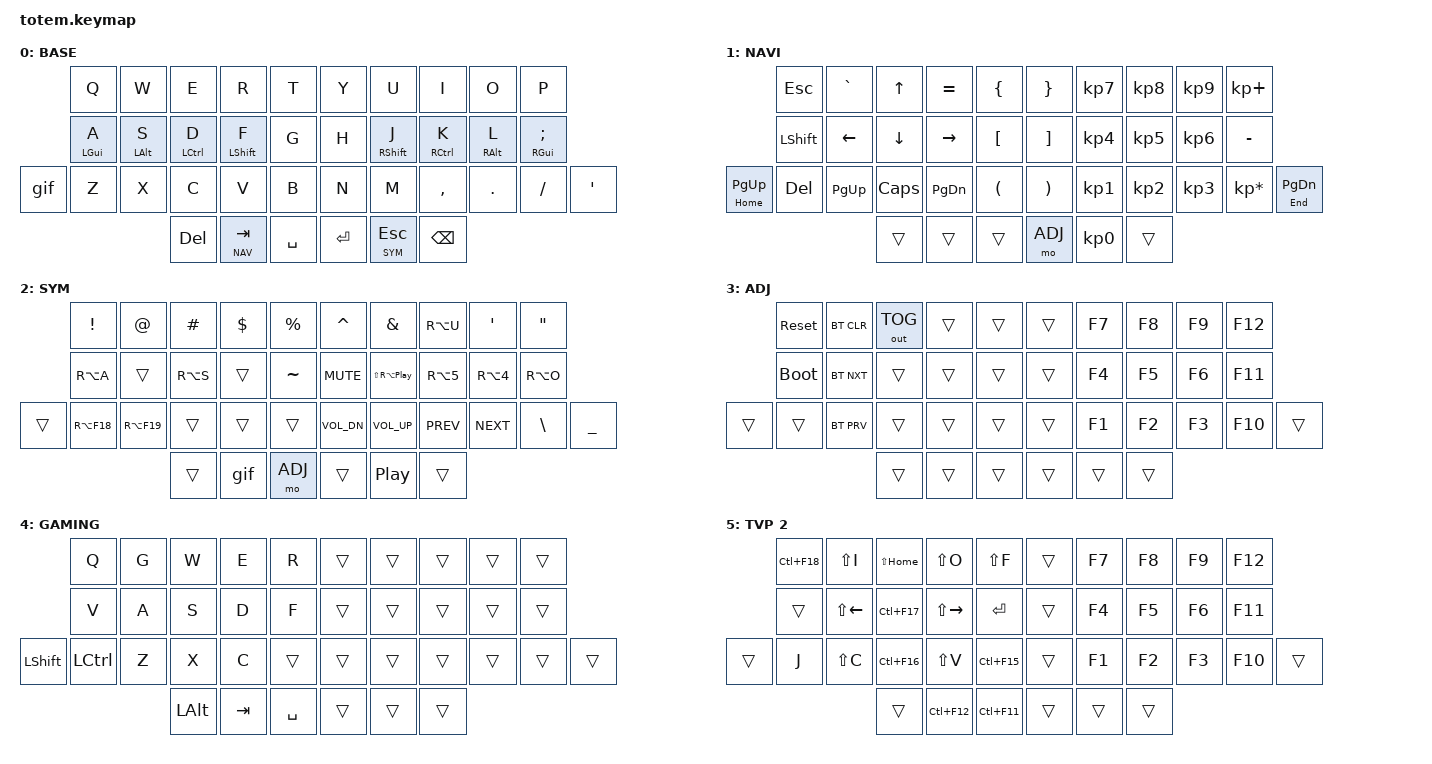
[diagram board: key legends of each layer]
//
//                                                        ▀▀▀▀▀     ▀▀▀▀▀          ▀▀█▀▀
//                                                        ▄▀▀▀▄  ▄  ▄▀▀▀▄  ▄  ▄▀▀▀▄  █  ▄▀▀▀▄
//                                                        █   █  █  █   █  █  █   █  █  █   █
//                                                         ▀▀▀   █   ▀▀▀   █   ▀▀▀   ▀   ▀▀▀
//                                                               █      ▄▄▄█▄▄▄    █   █  
//                                                               ▀      █  █  █     █▄█
//                                                             ▀▀▀▀▀    █  █  █      ▀
//                                                                      ▀  ▀  ▀
//
// ▄▄▄▄▄▄▄▄▄▄▄▄▄▄▄▄▄▄▄▄▄▄▄▄▄▄▄▄▄▄▄▄▄▄▄▄▄▄▄▄▄▄▄▄▄▄▄▄▄▄▄▄▄▄▄▄▄▄▄▄▄▄▄▄▄▄▄▄▄▄▄▄▄▄▄▄▄▄▄▄▄▄▄▄▄▄▄▄▄▄▄▄▄▄▄▄▄▄▄▄▄▄▄▄▄▄▄▄▄▄▄▄▄▄▄▄▄▄▄▄▄▄▄▄▄▄▄▄▄▄▄▄▄▄▄▄▄▄▄▄▄▄▄▄▄▄▄▄▄

#include <behaviors.dtsi>
#include <dt-bindings/zmk/bt.h>
#include <dt-bindings/zmk/keys.h>
#include <dt-bindings/zmk/outputs.h>

#define BASE 0
#define NAV  1
#define SYM  2
#define ADJ  3
#define TVP1 4
#define TVP2 5

&mt {
  quick-tap-ms = <150>;
  flavor = "balanced";
  tapping-term-ms = <200>;
};

/ {
    combos {
        compatible = "zmk,combos";

        combo_esc {
            timeout-ms = <50>;
            key-positions = <0 1>;
            bindings = <&kp ESC>;
        };

        combo_caps_word {
            timeout-ms = <50>;
            key-positions = <13 16>;
            bindings = <&caps_word>;
        };

        combo_gaming {
            timeout-ms = <100>;
            key-positions = <11 12 13>;
            bindings = <&tog TVP1>;
        };
    };

    macros {
        gif: gif {
            label = "giphy";
            compatible = "zmk,behavior-macro";
            #binding-cells = <0>;
            bindings =
                <&macro_press>,
                <&kp LSHFT>,
                <&macro_tap>,
                <&kp N2>,
                <&macro_release>,
                <&kp LSHFT>,
                <&macro_tap>,
                <&kp G &kp I &kp F>;
        };
    };

    keymap {
        compatible = "zmk,keymap";

        // ▄▄▄▄▄▄▄▄▄▄▄▄▄▄▄▄▄▄▄▄▄▄▄▄▄▄▄▄▄▄▄▄▄▄▄▄▄▄▄▄▄▄▄▄▄▄▄▄▄▄▄▄▄▄▄▄▄▄▄▄▄▄▄▄▄▄▄▄▄▄▄▄▄▄▄▄▄▄▄▄▄▄▄▄▄▄▄▄▄▄▄▄▄▄▄▄▄▄▄▄▄▄▄▄▄▄▄▄▄▄▄▄▄▄▄▄▄▄▄▄▄▄▄▄▄▄▄▄▄▄▄▄▄▄▄▄▄▄▄▄▄▄▄▄▄▄▄▄▄

        base_layer {
            // ┏━━━━━━━━━━━━━━━━━━━━━━━━━━━━━━━━━━━━━━━┓

            label = "BASE";

            // ┗━━━━━━━━━━━━━━━━━━━━━━━━━━━━━━━━━━━━━━━┛
            //             ┏━━━━━━━━━━━┳━━━━━━━━━━━┳━━━━━━━━━━━┳━━━━━━━━━━━┳━━━━━━━━━━━┓   ┏━━━━━━━━━━━┳━━━━━━━━━━━┳━━━━━━━━━━━┳━━━━━━━━━━━┳━━━━━━━━━━━┓
            //             ┃     Q     ┃     W     ┃     F     ┃     P     ┃     G     ┃   ┃     J     ┃     L     ┃     U     ┃     Y     ┃     ;     ┃
            //             ┣━━━━━━━━━━━╋━━━━━━━━━━━╋━━━━━━━━━━━╋━━━━━━━━━━━╋━━━━━━━━━━━┫   ┣━━━━━━━━━━━╋━━━━━━━━━━━╋━━━━━━━━━━━╋━━━━━━━━━━━╋━━━━━━━━━━━┫
            //             ┃     A     ┃     R     ┃     S     ┃     T     ┃     D     ┃   ┃     H     ┃     N     ┃     E     ┃     I     ┃     O     ┃
            // ┏━━━━━━━━━━━╋━━━━━━━━━━━╋━━━━━━━━━━━╋━━━━━━━━━━━╋━━━━━━━━━━━╋━━━━━━━━━━━┫   ┣━━━━━━━━━━━╋━━━━━━━━━━━╋━━━━━━━━━━━╋━━━━━━━━━━━╋━━━━━━━━━━━╋━━━━━━━━━━━┓
            // ┃     Q     ┃     Z     ┃     X     ┃     C     ┃     V     ┃     B     ┃   ┃     K     ┃     M     ┃     ,     ┃     .     ┃     /     ┃     \     ┃
            // ┗━━━━━━━━━━━┻━━━━━━━━━━━┻━━━━━━━━━━━╋━━━━━━━━━━━╋━━━━━━━━━━━╋━━━━━━━━━━━┫   ┣━━━━━━━━━━━╋━━━━━━━━━━━╋━━━━━━━━━━━╋━━━━━━━━━━━┻━━━━━━━━━━━┻━━━━━━━━━━━┛
            //                                     ┃    DEL    ┃    TAB    ┃    SPC    ┃   ┃   ENTER   ┃           ┃   BSPC    ┃
            //                                     ┗━━━━━━━━━━━┻━━━━━━━━━━━┻━━━━━━━━━━━┛   ┗━━━━━━━━━━━┻━━━━━━━━━━━┻━━━━━━━━━━━┛

            bindings = <
      &kp Q       &kp W       &kp E        &kp R        &kp T        &kp Y    &kp U        &kp I        &kp O       &kp P
      &mt LGUI A  &mt LALT S  &mt LCTRL D  &mt LSHFT F  &kp G        &kp H    &mt RSHFT J  &mt RCTRL K  &mt RALT L  &mt RGUI SEMICOLON
&gif  &kp Z       &kp X       &kp C        &kp V        &kp B        &kp N    &kp M        &kp COMMA    &kp PERIOD  &kp FSLH            &kp SQT
                              &kp DEL      &lt NAV TAB  &kp SPACE    &kp RET  &lt SYM ESC  &kp BSPC
            >;
        };

        // ▄▄▄▄▄▄▄▄▄▄▄▄▄▄▄▄▄▄▄▄▄▄▄▄▄▄▄▄▄▄▄▄▄▄▄▄▄▄▄▄▄▄▄▄▄▄▄▄▄▄▄▄▄▄▄▄▄▄▄▄▄▄▄▄▄▄▄▄▄▄▄▄▄▄▄▄▄▄▄▄▄▄▄▄▄▄▄▄▄▄▄▄▄▄▄▄▄▄▄▄▄▄▄▄▄▄▄▄▄▄▄▄▄▄▄▄▄▄▄▄▄▄▄▄▄▄▄▄▄▄▄▄▄▄▄▄▄▄▄▄▄▄▄▄▄▄▄▄▄

        nav_layer {
            // ┏━━━━━━━━━━━━━━━━━━━━━━━━━━━━━━━━━━━━━━━┓

            label = "NAVI";

            // ┗━━━━━━━━━━━━━━━━━━━━━━━━━━━━━━━━━━━━━━━┛
            //             ┏━━━━━━━━━━━┳━━━━━━━━━━━┳━━━━━━━━━━━┳━━━━━━━━━━━┳━━━━━━━━━━━┓   ┏━━━━━━━━━━━┳━━━━━━━━━━━┳━━━━━━━━━━━┳━━━━━━━━━━━┳━━━━━━━━━━━┓
            //             ┃           ┃           ┃     UP    ┃           ┃     {     ┃   ┃     }     ┃     7     ┃     8     ┃     9     ┃     +     ┃
            //             ┣━━━━━━━━━━━╋━━━━━━━━━━━╋━━━━━━━━━━━╋━━━━━━━━━━━╋━━━━━━━━━━━┫   ┣━━━━━━━━━━━╋━━━━━━━━━━━╋━━━━━━━━━━━╋━━━━━━━━━━━╋━━━━━━━━━━━┫
            //             ┃   SHIFT   ┃   LEFT    ┃    DOWN   ┃   RIGHT   ┃     [     ┃   ┃     ]     ┃     4     ┃     5     ┃     6     ┃     -     ┃
            // ┏━━━━━━━━━━━╋━━━━━━━━━━━╋━━━━━━━━━━━╋━━━━━━━━━━━╋━━━━━━━━━━━╋━━━━━━━━━━━┫   ┣━━━━━━━━━━━╋━━━━━━━━━━━╋━━━━━━━━━━━╋━━━━━━━━━━━╋━━━━━━━━━━━╋━━━━━━━━━━━┓
            // ┃           ┃           ┃   P UP    ┃  C LOCK   ┃  P DOWN   ┃     (     ┃   ┃     )     ┃     1     ┃     2     ┃     3     ┃     *     ┃           ┃
            // ┗━━━━━━━━━━━┻━━━━━━━━━━━┻━━━━━━━━━━━╋━━━━━━━━━━━╋━━━━━━━━━━━╋━━━━━━━━━━━┫   ┣━━━━━━━━━━━╋━━━━━━━━━━━╋━━━━━━━━━━━╋━━━━━━━━━━━┻━━━━━━━━━━━┻━━━━━━━━━━━┛
            //                                     ┃           ┃    TAB    ┃    SPC    ┃   ┃    DEL    ┃     0     ┃           ┃
            //                                     ┗━━━━━━━━━━━┻━━━━━━━━━━━┻━━━━━━━━━━━┛   ┗━━━━━━━━━━━┻━━━━━━━━━━━┻━━━━━━━━━━━┛

            bindings = <
                  &kp ESC    &kp GRAVE  &kp UP    &kp EQUAL  &kp LBRC    &kp RBRC  &kp KP_N7  &kp KP_N8  &kp KP_N9  &kp KP_PLUS
                  &kp LSHFT  &kp LEFT   &kp DOWN  &kp RIGHT  &kp LBKT    &kp RBKT  &kp KP_N4  &kp KP_N5  &kp KP_N6  &kp MINUS
&mt HOME PAGE_UP  &kp DEL    &kp PG_UP  &kp CAPS  &kp PG_DN  &kp LPAR    &kp RPAR  &kp KP_N1  &kp KP_N2  &kp KP_N3  &kp KP_MULTIPLY  &mt END PAGE_DOWN
                                        &trans    &trans     &trans      &mo ADJ   &kp KP_N0  &trans
            >;
        };

        // ▄▄▄▄▄▄▄▄▄▄▄▄▄▄▄▄▄▄▄▄▄▄▄▄▄▄▄▄▄▄▄▄▄▄▄▄▄▄▄▄▄▄▄▄▄▄▄▄▄▄▄▄▄▄▄▄▄▄▄▄▄▄▄▄▄▄▄▄▄▄▄▄▄▄▄▄▄▄▄▄▄▄▄▄▄▄▄▄▄▄▄▄▄▄▄▄▄▄▄▄▄▄▄▄▄▄▄▄▄▄▄▄▄▄▄▄▄▄▄▄▄▄▄▄▄▄▄▄▄▄▄▄▄▄▄▄▄▄▄▄▄▄▄▄▄▄▄▄▄

        sim_layer {
            // ┏━━━━━━━━━━━━━━━━━━━━━━━━━━━━━━━━━━━━━━━┓

            label = "SYM";

            // ┗━━━━━━━━━━━━━━━━━━━━━━━━━━━━━━━━━━━━━━━┛
            //             ┏━━━━━━━━━━━┳━━━━━━━━━━━┳━━━━━━━━━━━┳━━━━━━━━━━━┳━━━━━━━━━━━┓   ┏━━━━━━━━━━━┳━━━━━━━━━━━┳━━━━━━━━━━━┳━━━━━━━━━━━┳━━━━━━━━━━━┓
            //             ┃     !     ┃     @     ┃     #     ┃     $     ┃     %     ┃   ┃     ˆ     ┃     &     ┃     Ü     ┃     '     ┃     "     ┃
            //             ┣━━━━━━━━━━━╋━━━━━━━━━━━╋━━━━━━━━━━━╋━━━━━━━━━━━╋━━━━━━━━━━━┫   ┣━━━━━━━━━━━╋━━━━━━━━━━━╋━━━━━━━━━━━╋━━━━━━━━━━━╋━━━━━━━━━━━┫
            //             ┃     Ä     ┃           ┃    SZ     ┃           ┃           ┃   ┃   MUTE    ┃   YEN     ┃   EURO    ┃  POUND    ┃     Ö     ┃
            // ┏━━━━━━━━━━━╋━━━━━━━━━━━╋━━━━━━━━━━━╋━━━━━━━━━━━╋━━━━━━━━━━━╋━━━━━━━━━━━┫   ┣━━━━━━━━━━━╋━━━━━━━━━━━╋━━━━━━━━━━━╋━━━━━━━━━━━╋━━━━━━━━━━━╋━━━━━━━━━━━┓
            // ┃           ┃  EMAIL1   ┃  EMAIL2   ┃           ┃           ┃           ┃   ┃   VOL-    ┃   VOL+    ┃   LAST    ┃   NEXT    ┃     \     ┃           ┃
            // ┗━━━━━━━━━━━┻━━━━━━━━━━━┻━━━━━━━━━━━╋━━━━━━━━━━━╋━━━━━━━━━━━╋━━━━━━━━━━━┫   ┣━━━━━━━━━━━╋━━━━━━━━━━━╋━━━━━━━━━━━╋━━━━━━━━━━━┻━━━━━━━━━━━┻━━━━━━━━━━━┛
            //                                     ┃           ┃    GIF    ┃    ADJ    ┃   ┃           ┃           ┃           ┃
            //                                     ┗━━━━━━━━━━━┻━━━━━━━━━━━┻━━━━━━━━━━━┛   ┗━━━━━━━━━━━┻━━━━━━━━━━━┻━━━━━━━━━━━┛

            bindings = <
        &kp EXCL     &kp AT       &kp HASH   &kp DLLR  &kp PRCNT    &kp CARET     &kp AMPS                  &kp RA(U)   &kp SQT     &kp DQT
        &kp RA(A)    &trans       &kp RA(S)  &trans    &kp TILDE    &kp C_MUTE    &kp LS(RA(C_PLAY_PAUSE))  &kp RA(N5)  &kp RA(N4)  &kp RA(O)
&trans  &kp RA(F18)  &kp RA(F19)  &trans     &trans    &trans       &kp C_VOL_DN  &kp C_VOL_UP              &kp C_PREV  &kp C_NEXT  &kp BSLH   &kp UNDER
                                  &trans     &gif      &mo ADJ      &trans        &kp C_PP                  &trans
            >;
        };

        // ▄▄▄▄▄▄▄▄▄▄▄▄▄▄▄▄▄▄▄▄▄▄▄▄▄▄▄▄▄▄▄▄▄▄▄▄▄▄▄▄▄▄▄▄▄▄▄▄▄▄▄▄▄▄▄▄▄▄▄▄▄▄▄▄▄▄▄▄▄▄▄▄▄▄▄▄▄▄▄▄▄▄▄▄▄▄▄▄▄▄▄▄▄▄▄▄▄▄▄▄▄▄▄▄▄▄▄▄▄▄▄▄▄▄▄▄▄▄▄▄▄▄▄▄▄▄▄▄▄▄▄▄▄▄▄▄▄▄▄▄▄▄▄▄▄▄▄▄▄

        adjust_layer {
            // ┏━━━━━━━━━━━━━━━━━━━━━━━━━━━━━━━━━━━━━━━┓

            label = "ADJ";

            // ┗━━━━━━━━━━━━━━━━━━━━━━━━━━━━━━━━━━━━━━━┛
            //             ┏━━━━━━━━━━━┳━━━━━━━━━━━┳━━━━━━━━━━━┳━━━━━━━━━━━┳━━━━━━━━━━━┓   ┏━━━━━━━━━━━┳━━━━━━━━━━━┳━━━━━━━━━━━┳━━━━━━━━━━━┳━━━━━━━━━━━┓
            //             ┃   RESET   ┃ BT CLEAR  ┃  OUT TOG  ┃           ┃           ┃   ┃           ┃    F7     ┃    F8     ┃    F9     ┃    F12    ┃
            //             ┣━━━━━━━━━━━╋━━━━━━━━━━━╋━━━━━━━━━━━╋━━━━━━━━━━━╋━━━━━━━━━━━┫   ┣━━━━━━━━━━━╋━━━━━━━━━━━╋━━━━━━━━━━━╋━━━━━━━━━━━╋━━━━━━━━━━━┫
            //             ┃ BOOTLOAD  ┃ BT NEXT   ┃           ┃           ┃           ┃   ┃           ┃    F4     ┃    F5     ┃    F6     ┃    F11    ┃
            // ┏━━━━━━━━━━━╋━━━━━━━━━━━╋━━━━━━━━━━━╋━━━━━━━━━━━╋━━━━━━━━━━━╋━━━━━━━━━━━┫   ┣━━━━━━━━━━━╋━━━━━━━━━━━╋━━━━━━━━━━━╋━━━━━━━━━━━╋━━━━━━━━━━━╋━━━━━━━━━━━┓
            // ┃           ┃           ┃ BT PREV   ┃           ┃           ┃           ┃   ┃           ┃    F1     ┃    F2     ┃    F3     ┃    F10    ┃           ┃
            // ┗━━━━━━━━━━━┻━━━━━━━━━━━┻━━━━━━━━━━━╋━━━━━━━━━━━╋━━━━━━━━━━━╋━━━━━━━━━━━┫   ┣━━━━━━━━━━━╋━━━━━━━━━━━╋━━━━━━━━━━━╋━━━━━━━━━━━┻━━━━━━━━━━━┻━━━━━━━━━━━┛
            //                                     ┃           ┃           ┃           ┃   ┃           ┃           ┃           ┃
            //                                     ┗━━━━━━━━━━━┻━━━━━━━━━━━┻━━━━━━━━━━━┛   ┗━━━━━━━━━━━┻━━━━━━━━━━━┻━━━━━━━━━━━┛

            bindings = <
        &sys_reset   &bt BT_CLR  &out OUT_TOG  &trans  &trans    &trans  &kp F7  &kp F8  &kp F9  &kp F12
        &bootloader  &bt BT_NXT  &trans        &trans  &trans    &trans  &kp F4  &kp F5  &kp F6  &kp F11
&trans  &trans       &bt BT_PRV  &trans        &trans  &trans    &trans  &kp F1  &kp F2  &kp F3  &kp F10  &trans
                                 &trans        &trans  &trans    &trans  &trans  &trans
            >;
        };

        // ▄▄▄▄▄▄▄▄▄▄▄▄▄▄▄▄▄▄▄▄▄▄▄▄▄▄▄▄▄▄▄▄▄▄▄▄▄▄▄▄▄▄▄▄▄▄▄▄▄▄▄▄▄▄▄▄▄▄▄▄▄▄▄▄▄▄▄▄▄▄▄▄▄▄▄▄▄▄▄▄▄▄▄▄▄▄▄▄▄▄▄▄▄▄▄▄▄▄▄▄▄▄▄▄▄▄▄▄▄▄▄▄▄▄▄▄▄▄▄▄▄▄▄▄▄▄▄▄▄▄▄▄▄▄▄▄▄▄▄▄▄▄▄▄▄▄▄▄▄

        tvp1_layer {
            // ┏━━━━━━━━━━━━━━━━━━━━━━━━━━━━━━━━━━━━━━━┓

            label = "GAMING";

            // ┗━━━━━━━━━━━━━━━━━━━━━━━━━━━━━━━━━━━━━━━┛
            //             ┏━━━━━━━━━━━┳━━━━━━━━━━━┳━━━━━━━━━━━┳━━━━━━━━━━━┳━━━━━━━━━━━┓   ┏━━━━━━━━━━━┳━━━━━━━━━━━┳━━━━━━━━━━━┳━━━━━━━━━━━┳━━━━━━━━━━━┓
            //             ┃     Q     ┃     G     ┃     W     ┃     E     ┃     R     ┃   ┃           ┃           ┃           ┃           ┃           ┃
            //             ┣━━━━━━━━━━━╋━━━━━━━━━━━╋━━━━━━━━━━━╋━━━━━━━━━━━╋━━━━━━━━━━━┫   ┣━━━━━━━━━━━╋━━━━━━━━━━━╋━━━━━━━━━━━╋━━━━━━━━━━━╋━━━━━━━━━━━┫
            //             ┃     V     ┃     A     ┃     S     ┃     D     ┃     F     ┃   ┃           ┃           ┃           ┃           ┃           ┃
            // ┏━━━━━━━━━━━╋━━━━━━━━━━━╋━━━━━━━━━━━╋━━━━━━━━━━━╋━━━━━━━━━━━╋━━━━━━━━━━━┫   ┣━━━━━━━━━━━╋━━━━━━━━━━━╋━━━━━━━━━━━╋━━━━━━━━━━━╋━━━━━━━━━━━╋━━━━━━━━━━━┓
            // ┃  SHIFT    ┃    CTRL   ┃     Z     ┃     X     ┃     C     ┃           ┃   ┃           ┃           ┃           ┃           ┃           ┃           ┃
            // ┗━━━━━━━━━━━┻━━━━━━━━━━━┻━━━━━━━━━━━╋━━━━━━━━━━━╋━━━━━━━━━━━╋━━━━━━━━━━━┫   ┣━━━━━━━━━━━╋━━━━━━━━━━━╋━━━━━━━━━━━╋━━━━━━━━━━━┻━━━━━━━━━━━┻━━━━━━━━━━━┛
            //                                     ┃    ALT    ┃    TAB    ┃   SPACE   ┃   ┃           ┃           ┃           ┃
            //                                     ┗━━━━━━━━━━━┻━━━━━━━━━━━┻━━━━━━━━━━━┛   ┗━━━━━━━━━━━┻━━━━━━━━━━━┻━━━━━━━━━━━┛

            bindings = <
       &kp Q       &kp G       &kp W        &kp E        &kp R        &trans  &trans  &trans  &trans  &trans
       &kp V       &kp A       &kp S        &kp D        &kp F        &trans  &trans  &trans  &trans  &trans
&kp LSHFT  &kp LCTRL    &kp Z       &kp X       &kp C        &trans       &trans  &trans  &trans  &trans  &trans  &trans
                              &kp LALT      &kp TAB      &kp SPACE    &trans  &trans  &trans
            >;
        };

        // ▄▄▄▄▄▄▄▄▄▄▄▄▄▄▄▄▄▄▄▄▄▄▄▄▄▄▄▄▄▄▄▄▄▄▄▄▄▄▄▄▄▄▄▄▄▄▄▄▄▄▄▄▄▄▄▄▄▄▄▄▄▄▄▄▄▄▄▄▄▄▄▄▄▄▄▄▄▄▄▄▄▄▄▄▄▄▄▄▄▄▄▄▄▄▄▄▄▄▄▄▄▄▄▄▄▄▄▄▄▄▄▄▄▄▄▄▄▄▄▄▄▄▄▄▄▄▄▄▄▄▄▄▄▄▄▄▄▄▄▄▄▄▄▄▄▄▄▄▄

        tvp2_layer {
            // ┏━━━━━━━━━━━━━━━━━━━━━━━━━━━━━━━━━━━━━━━┓

            label = "TVP 2";

            // ┗━━━━━━━━━━━━━━━━━━━━━━━━━━━━━━━━━━━━━━━┛
            //             ┏━━━━━━━━━━━┳━━━━━━━━━━━┳━━━━━━━━━━━┳━━━━━━━━━━━┳━━━━━━━━━━━┓   ┏━━━━━━━━━━━┳━━━━━━━━━━━┳━━━━━━━━━━━┳━━━━━━━━━━━┳━━━━━━━━━━━┓
            //             ┃ SOLO      ┃ TOGGLE IN ┃ RESET ROT ┃ TOGGLE OUT┃ TAKE SNAP ┃   ┃           ┃           ┃           ┃           ┃           ┃
            //             ┣━━━━━━━━━━━╋━━━━━━━━━━━╋━━━━━━━━━━━╋━━━━━━━━━━━╋━━━━━━━━━━━┫   ┣━━━━━━━━━━━╋━━━━━━━━━━━╋━━━━━━━━━━━╋━━━━━━━━━━━╋━━━━━━━━━━━┫
            //             ┃ ---       ┃ LAST KEY  ┃ NEW KEY   ┃ NEXT KEY  ┃ ENTER     ┃   ┃           ┃           ┃           ┃           ┃           ┃
            // ┏━━━━━━━━━━━╋━━━━━━━━━━━╋━━━━━━━━━━━╋━━━━━━━━━━━╋━━━━━━━━━━━╋━━━━━━━━━━━┫   ┣━━━━━━━━━━━╋━━━━━━━━━━━╋━━━━━━━━━━━╋━━━━━━━━━━━╋━━━━━━━━━━━╋━━━━━━━━━━━┓
            // ┃           ┃ FULLSCR   ┃ CPY2BRUSH ┃ DEL HEAD  ┃ PSTinPLACE┃ BOOK MARK ┃   ┃           ┃           ┃           ┃           ┃           ┃           ┃
            // ┗━━━━━━━━━━━┻━━━━━━━━━━━┻━━━━━━━━━━━╋━━━━━━━━━━━╋━━━━━━━━━━━╋━━━━━━━━━━━┫   ┣━━━━━━━━━━━╋━━━━━━━━━━━╋━━━━━━━━━━━╋━━━━━━━━━━━┻━━━━━━━━━━━┻━━━━━━━━━━━┛
            //                                     ┃           ┃ REDO/SAV1 ┃TRANS/WARP ┃   ┃           ┃           ┃           ┃
            //                                     ┗━━━━━━━━━━━┻━━━━━━━━━━━┻━━━━━━━━━━━┛   ┗━━━━━━━━━━━┻━━━━━━━━━━━┻━━━━━━━━━━━┛

            bindings = <
        &kp LC(F18)  &kp LS(I)     &kp LS(HOME)  &kp LS(O)      &kp LS(F)      &trans  &kp F7  &kp F8  &kp F9  &kp F12
        &trans       &kp LS(LEFT)  &kp LC(F17)   &kp LS(RIGHT)  &kp RET        &trans  &kp F4  &kp F5  &kp F6  &kp F11
&trans  &kp J        &kp LS(C)     &kp LC(F16)   &kp LS(V)      &kp LC(F15)    &trans  &kp F1  &kp F2  &kp F3  &kp F10  &trans
                                   &trans        &kp LC(F12)    &kp LC(F11)    &trans  &trans  &trans
            >;
        };
    };
};
